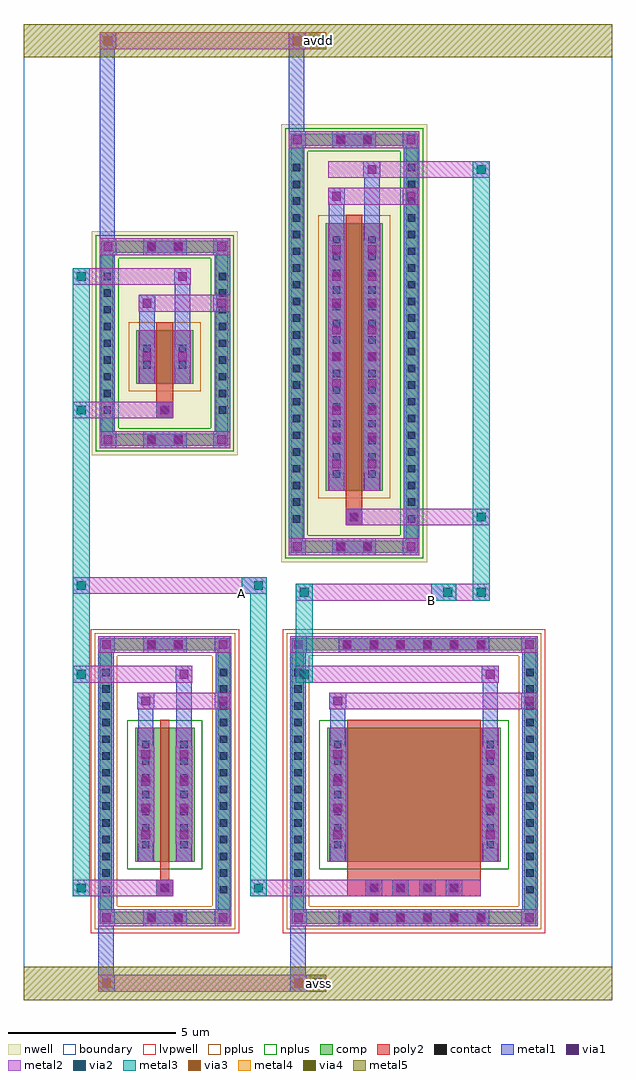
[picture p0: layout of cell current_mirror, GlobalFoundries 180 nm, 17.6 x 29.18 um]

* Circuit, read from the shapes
.subckt current_mirror A B avdd avss
XM1 A A avss avss nfet_03v3 w=4u l=0.28u
XM2 B A avss avss nfet_03v3 w=4u l=4u
XM3 A A avdd avdd pfet_03v3 w=1.6u l=0.5u
XM4 B B avdd avdd pfet_03v3 w=8u l=0.5u
.ends

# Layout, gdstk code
import gdstk
lib = gdstk.Library(unit=1e-6, precision=1e-09)
def R(c, l, rs):  # rectangles x0, y0, x1, y1
    for r in rs: c.add(gdstk.rectangle(r[:2], r[2:], *l))
def A(c, l, x, y, w, h, nx, ny, dx, dy):  # array of equal rectangles
    R(c, l, [(x+i*dx, y+j*dy, x+i*dx+w, y+j*dy+h) for i in range(nx) for j in range(ny)])
def P(c, l, *ps):  # polygons
    for p in ps: c.add(gdstk.Polygon(p, *l))
boundary = (0, 0)
nwell = (21, 0)
comp = (22, 0)
poly2 = (30, 0)
pplus = (31, 0)
nplus = (32, 0)
contact = (33, 0)
metal1 = (34, 0)
via1 = (35, 0)
metal2 = (36, 0)
via2 = (38, 0)
via3 = (40, 0)
via4 = (41, 0)
metal3 = (42, 0)
metal4 = (46, 0)
metal5 = (81, 0)
lvpwell = (204, 0)

c_route_10bd7e16 = lib.new_cell('c_route_10bd7e16')
R(c_route_10bd7e16, metal2, [(8.14,9.49,9.14,9.99), (8.14,9.49,8.64,9.99), (8.14,11.94,8.64,12.44), (8.14,11.94,12.43,12.44)])
R(c_route_10bd7e16, via2, [(8.26,9.61,8.52,9.87), (8.26,12.06,8.52,12.32)])
R(c_route_10bd7e16, metal3, [(8.14,9.49,8.64,9.99), (8.14,9.49,8.64,9.99), (8.14,9.49,8.64,12.44), (8.14,11.94,8.64,12.44), (8.14,11.94,8.64,12.44)])
P(c_route_10bd7e16, metal3, [(8.64,9.49),(8.64,9.99),(8.64,9.99),(8.64,9.49)],
  [(8.64,11.94),(8.64,12.44),(8.64,12.44),(8.64,11.94)])

c_route_90aed8ec = lib.new_cell('c_route_90aed8ec')
R(c_route_90aed8ec, metal2, [(12.93,11.94,13.93,12.44), (13.43,11.94,13.93,12.44), (10.13,14.19,13.93,14.69), (13.43,14.19,13.93,14.69)])
R(c_route_90aed8ec, via2, [(13.55,12.06,13.81,12.32), (13.55,14.31,13.81,14.57)])
R(c_route_90aed8ec, metal3, [(13.43,11.94,13.93,12.44), (13.43,11.94,13.93,12.44), (13.43,11.94,13.93,14.69), (13.43,14.19,13.93,14.69), (13.43,14.19,13.93,14.69)])
P(c_route_90aed8ec, metal3, [(13.93,11.94),(13.93,12.44),(13.93,12.44),(13.93,11.94)],
  [(13.93,14.19),(13.93,14.69),(13.93,14.69),(13.93,14.19)])

c_route_25e087cc = lib.new_cell('c_route_25e087cc')
R(c_route_25e087cc, metal2, [(12.93,11.94,13.93,12.44), (13.43,11.94,13.93,12.44), (10.66,24.58,13.93,25.08), (13.43,24.58,13.93,25.08)])
R(c_route_25e087cc, via2, [(13.55,12.06,13.81,12.32), (13.55,24.7,13.81,24.96)])
R(c_route_25e087cc, metal3, [(13.43,11.94,13.93,12.44), (13.43,11.94,13.93,12.44), (13.43,11.94,13.93,25.08), (13.43,24.58,13.93,25.08), (13.43,24.58,13.93,25.08)])
P(c_route_25e087cc, metal3, [(13.93,11.94),(13.93,12.44),(13.93,12.44),(13.93,11.94)],
  [(13.93,24.58),(13.93,25.08),(13.93,25.08),(13.93,24.58)])

l_route_7eae1ef4 = lib.new_cell('L_route_7eae1ef4')
R(l_route_7eae1ef4, metal2, [(6.77,3.1,9.67,3.6), (6.77,3.1,7.27,3.6), (6.77,3.1,7.27,3.6)])
R(l_route_7eae1ef4, via2, [(6.89,3.22,7.15,3.48)])
R(l_route_7eae1ef4, metal3, [(6.77,3.1,7.27,3.6), (6.77,3.1,7.27,3.6), (6.77,3.1,7.27,12.14)])

straight_route_ca1693f4 = lib.new_cell('straight_route_ca1693f4')
R(straight_route_ca1693f4, metal2, [(1.47,12.14,7.27,12.64)])

l_route_70e60bcc = lib.new_cell('L_route_70e60bcc')
R(l_route_70e60bcc, metal2, [(1.47,3.1,3.97,3.6), (1.47,3.1,1.97,3.6), (1.47,3.1,1.97,3.6)])
R(l_route_70e60bcc, via2, [(1.59,3.22,1.85,3.48)])
R(l_route_70e60bcc, metal3, [(1.47,3.1,1.97,3.6), (1.47,3.1,1.97,3.6), (1.47,3.1,1.97,12.14)])

l_route_1d105673 = lib.new_cell('L_route_1d105673')
R(l_route_1d105673, metal2, [(1.47,17.39,3.97,17.89), (1.47,17.39,1.97,17.89), (1.47,17.39,1.97,17.89)])
R(l_route_1d105673, via2, [(1.59,17.51,1.85,17.77)])
R(l_route_1d105673, metal3, [(1.47,12.64,1.97,17.89), (1.47,17.39,1.97,17.89), (1.47,17.39,1.97,17.89)])

l_route_0b815acd = lib.new_cell('L_route_0b815acd')
R(l_route_0b815acd, metal2, [(1.47,9.49,3.4,9.99), (1.47,9.49,1.97,9.99), (1.47,9.49,1.97,9.99)])
R(l_route_0b815acd, via2, [(1.59,9.61,1.85,9.87)])
R(l_route_0b815acd, metal3, [(1.47,9.49,1.97,9.99), (1.47,9.49,1.97,9.99), (1.47,9.49,1.97,12.14)])

l_route_261ebb80 = lib.new_cell('L_route_261ebb80')
R(l_route_261ebb80, metal2, [(1.47,21.38,3.44,21.88), (1.47,21.38,1.97,21.88), (1.47,21.38,1.97,21.88)])
R(l_route_261ebb80, via2, [(1.59,21.5,1.85,21.76)])
R(l_route_261ebb80, metal3, [(1.47,12.64,1.97,21.88), (1.47,21.38,1.97,21.88), (1.47,21.38,1.97,21.88)])

l_route_17746030 = lib.new_cell('L_route_17746030')
R(l_route_17746030, metal1, [(14.87,8.69,15.37,9.19), (14.87,8.69,15.37,9.19), (14.91,8.69,15.37,10.45)])
R(l_route_17746030, via1, [(14.99,8.81,15.25,9.07)])
R(l_route_17746030, metal2, [(14.2,8.69,15.37,9.19), (14.87,8.69,15.37,9.19), (14.87,8.69,15.37,9.19)])

l_route_3668c173 = lib.new_cell('L_route_3668c173')
R(l_route_3668c173, metal1, [(5.71,8.69,6.21,9.19), (5.71,8.69,6.21,9.19), (5.75,8.69,6.21,10.45)])
R(l_route_3668c173, via1, [(5.83,8.81,6.09,9.07)])
R(l_route_3668c173, metal2, [(5.04,8.69,6.21,9.19), (5.71,8.69,6.21,9.19), (5.71,8.69,6.21,9.19)])

l_route_6dcb7beb = lib.new_cell('L_route_6dcb7beb')
R(l_route_6dcb7beb, metal1, [(11.33,23.78,11.83,24.28), (11.33,23.78,11.83,24.28), (11.37,23.78,11.83,25.54)])
R(l_route_6dcb7beb, via1, [(11.45,23.9,11.71,24.16)])
R(l_route_6dcb7beb, metal2, [(10.66,23.78,11.83,24.28), (11.33,23.78,11.83,24.28), (11.33,23.78,11.83,24.28)])

l_route_7fcb8801 = lib.new_cell('L_route_7fcb8801')
R(l_route_7fcb8801, metal1, [(5.67,20.58,6.17,21.08), (5.67,20.58,6.17,21.08), (5.71,20.58,6.17,22.34)])
R(l_route_7fcb8801, via1, [(5.79,20.7,6.05,20.96)])
R(l_route_7fcb8801, metal2, [(5,20.58,6.17,21.08), (5.67,20.58,6.17,21.08), (5.67,20.58,6.17,21.08)])

l_route_2b8f3176 = lib.new_cell('L_route_2b8f3176')
R(l_route_2b8f3176, metal1, [(7.97,0.25,8.47,0.75), (7.97,0.25,8.47,0.75), (7.97,0.25,8.43,2.64)])
R(l_route_2b8f3176, via1, [(8.09,0.37,8.35,0.63)])
R(l_route_2b8f3176, metal2, [(7.97,0.25,8.55,0.75), (7.97,0.25,8.47,0.75), (7.97,0.25,8.47,0.75)])

l_route_825af731 = lib.new_cell('L_route_825af731')
R(l_route_825af731, metal1, [(2.23,0.25,2.73,0.75), (2.23,0.25,2.73,0.75), (2.23,0.25,2.69,2.64)])
R(l_route_825af731, via1, [(2.35,0.37,2.61,0.63)])
R(l_route_825af731, metal2, [(2.23,0.25,8.55,0.75), (2.23,0.25,2.73,0.75), (2.23,0.25,2.73,0.75)])

l_route_092ee0ab = lib.new_cell('L_route_092ee0ab')
R(l_route_092ee0ab, metal1, [(7.93,25.54,8.39,28.93), (7.93,28.43,8.43,28.93), (7.93,28.43,8.43,28.93)])
R(l_route_092ee0ab, via1, [(8.05,28.55,8.31,28.81)])
R(l_route_092ee0ab, metal2, [(7.93,28.43,8.55,28.93), (7.93,28.43,8.43,28.93), (7.93,28.43,8.43,28.93)])

l_route_9d6ad4ba = lib.new_cell('L_route_9d6ad4ba')
R(l_route_9d6ad4ba, metal1, [(2.27,22.34,2.73,28.93), (2.27,28.43,2.77,28.93), (2.27,28.43,2.77,28.93)])
R(l_route_9d6ad4ba, via1, [(2.39,28.55,2.65,28.81)])
R(l_route_9d6ad4ba, metal2, [(2.27,28.43,8.55,28.93), (2.27,28.43,2.77,28.93), (2.27,28.43,2.77,28.93)])

compass_2d1cdd23_3 = lib.new_cell('compass_2d1cdd23$3')
R(compass_2d1cdd23_3, metal3, [(-0.25,-0.25,0.25,0.25)])

rectangle_2d1cdd23_1 = lib.new_cell('rectangle_2d1cdd23$1')
rectangle_2d1cdd23_1.add(gdstk.Reference(compass_2d1cdd23_3, (0.25,0.25)))

compass_2d1cdd23_2 = lib.new_cell('compass_2d1cdd23$2')
R(compass_2d1cdd23_2, metal3, [(-0.25,-0.25,0.25,0.25)])

rectangle_2d1cdd23 = lib.new_cell('rectangle_2d1cdd23')
rectangle_2d1cdd23.add(gdstk.Reference(compass_2d1cdd23_2, (0.25,0.25)))

via_stack_a2e89513_23 = lib.new_cell('via_stack_a2e89513$23')
R(via_stack_a2e89513_23, metal2, [(-0.25,-0.25,0.25,0.25)])
R(via_stack_a2e89513_23, via2, [(-0.13,-0.13,0.13,0.13)])
R(via_stack_a2e89513_23, metal3, [(-0.25,-0.25,0.25,0.25)])

via_stack_7fdd5994_2 = lib.new_cell('via_stack_7fdd5994$2')
R(via_stack_7fdd5994_2, metal2, [(-0.25,-0.25,0.25,0.25)])
R(via_stack_7fdd5994_2, via2, [(-0.13,-0.13,0.13,0.13)])
R(via_stack_7fdd5994_2, via3, [(-0.13,-0.13,0.13,0.13)])
R(via_stack_7fdd5994_2, via4, [(-0.13,-0.13,0.13,0.13)])
R(via_stack_7fdd5994_2, metal3, [(-0.25,-0.25,0.25,0.25)])
R(via_stack_7fdd5994_2, metal4, [(-0.25,-0.25,0.25,0.25)])
R(via_stack_7fdd5994_2, metal5, [(-0.25,-0.25,0.25,0.25)])

compass_5639a077_1 = lib.new_cell('compass_5639a077$1')
R(compass_5639a077_1, metal5, [(-8.8,-0.5,8.8,0.5)])

rectangle_5639a077_1 = lib.new_cell('rectangle_5639a077$1')
rectangle_5639a077_1.add(gdstk.Reference(compass_5639a077_1, (8.8,0.5)))

compass_5639a077 = lib.new_cell('compass_5639a077')
R(compass_5639a077, metal5, [(-8.8,-0.5,8.8,0.5)])

rectangle_5639a077 = lib.new_cell('rectangle_5639a077')
rectangle_5639a077.add(gdstk.Reference(compass_5639a077, (8.8,0.5)))

c_m4 = lib.new_cell('M4')
R(c_m4, nwell, [(-2.18,-3.345,2.18,3.345), (-2.02,-3.185,2.02,3.185)])
A(c_m4, comp, -1.9, -2.18, 0.36, 0.36, 1, 9, 0, 0.5)
A(c_m4, comp, 1.54, -2.18, 0.36, 0.36, 1, 9, 0, 0.5)
R(c_m4, comp, [(-0.58,-3.065,-0.22,-2.705), (-0.58,-3.065,0.58,-2.705), (0.22,-3.065,0.58,-2.705), (-1.9,-2.18,-1.54,2.18), (1.54,-2.18,1.9,2.18), (-0.85,-1.205,0.85,0.395), (-0.58,2.705,-0.22,3.065), (-0.58,2.705,0.58,3.065), (0.22,2.705,0.58,3.065)])
P(c_m4, comp, [(-1.9,-3.065),(-1.9,-2.705),(1.54,-2.705),(1.54,2.705),(-1.54,2.705),(-1.54,-2.705),(-1.9,-2.705),(-1.9,3.065),(1.9,3.065),(1.9,-3.065)])
R(c_m4, poly2, [(-0.25,-2.245,0.25,-1.745), (-0.18,-2.175,0.18,-1.815), (-0.25,-1.745,0.25,-1.445), (-0.25,-1.445,0.25,0.635)])
R(c_m4, pplus, [(-1.08,-1.435,1.08,0.625)])
P(c_m4, nplus, [(-2.06,-3.225),(-2.06,-2.545),(1.38,-2.545),(1.38,2.545),(-1.38,2.545),(-1.38,-2.545),(-2.06,-2.545),(-2.06,3.225),(2.06,3.225),(2.06,-3.225)])
A(c_m4, contact, -1.83, -2.11, 0.22, 0.22, 1, 9, 0, 0.5)
A(c_m4, contact, 1.61, -2.11, 0.22, 0.22, 1, 9, 0, 0.5)
R(c_m4, contact, [(-0.51,-2.995,-0.29,-2.775), (0.29,-2.995,0.51,-2.775), (-0.11,-2.105,0.11,-1.885), (-0.64,-0.765,-0.42,-0.545), (0.42,-0.765,0.64,-0.545), (-0.64,-0.265,-0.42,-0.045), (0.42,-0.265,0.64,-0.045), (-0.51,2.775,-0.29,2.995), (0.29,2.775,0.51,2.995)])
A(c_m4, metal1, -1.95, -2.23, 0.46, 0.46, 1, 9, 0, 0.5)
A(c_m4, metal1, 1.49, -2.23, 0.46, 0.46, 1, 9, 0, 0.5)
R(c_m4, metal1, [(-1.95,-3.135,-1.45,-2.635), (-1.95,-3.135,-1.45,-2.635), (-1.95,-3.135,-1.49,-2.705), (-0.65,-3.135,-0.15,-2.635), (-0.65,-3.135,0.65,-2.635), (0.15,-3.135,0.65,-2.635), (1.45,-3.135,1.95,-2.635), (1.45,-3.135,1.95,-2.635), (1.49,-3.135,1.95,-2.705), (-1.95,-2.705,-1.49,2.705), (1.49,-2.705,1.95,2.705), (-0.25,-2.245,0.25,-1.745), (-0.76,-1.205,-0.3,0.395), (0.3,-1.205,0.76,0.395), (-0.76,-0.885,-0.3,-0.425), (0.3,-0.885,0.76,-0.425), (-0.78,-0.655,-0.28,-0.155), (-0.78,-0.655,-0.28,-0.155), (0.28,-0.655,0.78,-0.155), (0.28,-0.655,0.78,-0.155), (-0.76,-0.385,-0.3,0.075), (0.3,-0.385,0.76,0.075), (-0.76,0.395,-0.3,1.445), (0.3,0.395,0.76,2.245), (-0.78,0.945,-0.28,1.445), (0.28,1.745,0.78,2.245), (-1.95,2.635,-1.45,3.135), (-1.95,2.635,-1.45,3.135), (-0.65,2.635,-0.15,3.135), (-0.65,2.635,0.65,3.135), (0.15,2.635,0.65,3.135), (1.45,2.635,1.95,3.135), (1.45,2.635,1.95,3.135), (-1.95,2.705,-1.49,3.135), (1.49,2.705,1.95,3.135)])
R(c_m4, via1, [(-1.83,-3.015,-1.57,-2.755), (-0.53,-3.015,-0.27,-2.755), (0.27,-3.015,0.53,-2.755), (1.57,-3.015,1.83,-2.755), (-0.13,-2.125,0.13,-1.865), (-0.66,-0.535,-0.4,-0.275), (0.4,-0.535,0.66,-0.275), (-0.66,1.065,-0.4,1.325), (0.4,1.865,0.66,2.125), (-1.83,2.755,-1.57,3.015), (-0.53,2.755,-0.27,3.015), (0.27,2.755,0.53,3.015), (1.57,2.755,1.83,3.015)])
R(c_m4, metal2, [(-1.95,-3.135,-1.45,-2.635), (-1.95,-3.135,-1.45,-2.635), (-1.95,-3.135,-1.54,-2.635), (-1.54,-3.135,1.54,-2.635), (-0.65,-3.135,-0.15,-2.635), (0.15,-3.135,0.65,-2.635), (1.45,-3.135,1.95,-2.635), (1.45,-3.135,1.95,-2.635), (1.54,-3.135,1.95,-2.635), (-0.25,-2.245,0.25,-1.745), (-0.25,-2.245,0.25,-1.745), (-0.78,-1.205,-0.28,0.395), (0.28,-1.205,0.78,0.395), (-0.78,-0.655,-0.28,-0.155), (0.28,-0.655,0.78,-0.155), (-0.78,0.945,-0.28,1.445), (-0.78,0.945,0.78,1.445), (-0.78,1.745,0.78,2.245), (0.28,1.745,0.78,2.245), (-1.95,2.635,-1.45,3.135), (-1.95,2.635,-1.45,3.135), (-1.95,2.635,-1.54,3.135), (-1.54,2.635,1.54,3.135), (-0.65,2.635,-0.15,3.135), (0.15,2.635,0.65,3.135), (1.45,2.635,1.95,3.135), (1.45,2.635,1.95,3.135), (1.54,2.635,1.95,3.135)])

c_m3 = lib.new_cell('M3')
R(c_m3, nwell, [(-2.18,-6.545,2.18,6.545), (-2.02,-6.385,2.02,6.385)])
A(c_m3, comp, -1.9, -5.43, 0.36, 0.36, 1, 22, 0, 0.5)
A(c_m3, comp, 1.54, -5.43, 0.36, 0.36, 1, 22, 0, 0.5)
R(c_m3, comp, [(-0.58,-6.265,-0.22,-5.905), (-0.58,-6.265,0.58,-5.905), (0.22,-6.265,0.58,-5.905), (-1.9,-5.43,-1.54,5.43), (1.54,-5.43,1.9,5.43), (-0.85,-4.405,0.85,3.595), (-0.58,5.905,-0.22,6.265), (-0.58,5.905,0.58,6.265), (0.22,5.905,0.58,6.265)])
P(c_m3, comp, [(-1.9,-6.265),(-1.9,-5.905),(1.54,-5.905),(1.54,5.905),(-1.54,5.905),(-1.54,-5.905),(-1.9,-5.905),(-1.9,6.265),(1.9,6.265),(1.9,-6.265)])
R(c_m3, poly2, [(-0.25,-5.445,0.25,-4.945), (-0.18,-5.375,0.18,-5.015), (-0.25,-4.945,0.25,-4.645), (-0.25,-4.645,0.25,3.835)])
R(c_m3, pplus, [(-1.08,-4.635,1.08,3.825)])
P(c_m3, nplus, [(-2.06,-6.425),(-2.06,-5.745),(1.38,-5.745),(1.38,5.745),(-1.38,5.745),(-1.38,-5.745),(-2.06,-5.745),(-2.06,6.425),(2.06,6.425),(2.06,-6.425)])
A(c_m3, contact, -1.83, -5.36, 0.22, 0.22, 1, 22, 0, 0.5)
A(c_m3, contact, 1.61, -5.36, 0.22, 0.22, 1, 22, 0, 0.5)
A(c_m3, contact, -0.64, -4.015, 0.22, 0.22, 1, 15, 0, 0.5)
A(c_m3, contact, 0.42, -4.015, 0.22, 0.22, 1, 15, 0, 0.5)
R(c_m3, contact, [(-0.51,-6.195,-0.29,-5.975), (0.29,-6.195,0.51,-5.975), (-0.11,-5.305,0.11,-5.085), (-0.51,5.975,-0.29,6.195), (0.29,5.975,0.51,6.195)])
A(c_m3, metal1, -1.95, -5.48, 0.46, 0.46, 1, 22, 0, 0.5)
A(c_m3, metal1, 1.49, -5.48, 0.46, 0.46, 1, 22, 0, 0.5)
A(c_m3, metal1, -0.76, -4.135, 0.46, 0.46, 1, 15, 0, 0.5)
A(c_m3, metal1, 0.3, -4.135, 0.46, 0.46, 1, 15, 0, 0.5)
A(c_m3, metal1, -0.78, -3.855, 0.5, 0.5, 1, 9, 0, 0.8)
A(c_m3, metal1, 0.28, -3.855, 0.5, 0.5, 1, 9, 0, 0.8)
R(c_m3, metal1, [(-1.95,-6.335,-1.45,-5.835), (-1.95,-6.335,-1.45,-5.835), (-1.95,-6.335,-1.49,-5.905), (-0.65,-6.335,-0.15,-5.835), (-0.65,-6.335,0.65,-5.835), (0.15,-6.335,0.65,-5.835), (1.45,-6.335,1.95,-5.835), (1.45,-6.335,1.95,-5.835), (1.49,-6.335,1.95,-5.905), (-1.95,-5.905,-1.49,5.905), (1.49,-5.905,1.95,5.905), (-0.25,-5.445,0.25,-4.945), (-0.76,-4.405,-0.3,3.595), (0.3,-4.405,0.76,3.595), (-0.78,-3.855,-0.28,3.045), (0.28,-3.855,0.78,3.045), (-0.76,3.595,-0.3,4.645), (0.3,3.595,0.76,5.445), (-0.78,4.145,-0.28,4.645), (0.28,4.945,0.78,5.445), (-1.95,5.835,-1.45,6.335), (-1.95,5.835,-1.45,6.335), (-0.65,5.835,-0.15,6.335), (-0.65,5.835,0.65,6.335), (0.15,5.835,0.65,6.335), (1.45,5.835,1.95,6.335), (1.45,5.835,1.95,6.335), (-1.95,5.905,-1.49,6.335), (1.49,5.905,1.95,6.335)])
A(c_m3, via1, -0.66, -3.735, 0.26, 0.26, 1, 9, 0, 0.8)
A(c_m3, via1, 0.4, -3.735, 0.26, 0.26, 1, 9, 0, 0.8)
R(c_m3, via1, [(-1.83,-6.215,-1.57,-5.955), (-0.53,-6.215,-0.27,-5.955), (0.27,-6.215,0.53,-5.955), (1.57,-6.215,1.83,-5.955), (-0.13,-5.325,0.13,-5.065), (-0.66,4.265,-0.4,4.525), (0.4,5.065,0.66,5.325), (-1.83,5.955,-1.57,6.215), (-0.53,5.955,-0.27,6.215), (0.27,5.955,0.53,6.215), (1.57,5.955,1.83,6.215)])
A(c_m3, metal2, -0.78, -3.855, 0.5, 0.5, 1, 9, 0, 0.8)
A(c_m3, metal2, 0.28, -3.855, 0.5, 0.5, 1, 9, 0, 0.8)
R(c_m3, metal2, [(-1.95,-6.335,-1.45,-5.835), (-1.95,-6.335,-1.45,-5.835), (-1.95,-6.335,-1.54,-5.835), (-1.54,-6.335,1.54,-5.835), (-0.65,-6.335,-0.15,-5.835), (0.15,-6.335,0.65,-5.835), (1.45,-6.335,1.95,-5.835), (1.45,-6.335,1.95,-5.835), (1.54,-6.335,1.95,-5.835), (-0.25,-5.445,0.25,-4.945), (-0.25,-5.445,0.25,-4.945), (-0.78,-4.405,-0.28,3.595), (0.28,-4.405,0.78,3.595), (-0.78,4.145,-0.28,4.645), (-0.78,4.145,0.78,4.645), (-0.78,4.945,0.78,5.445), (0.28,4.945,0.78,5.445), (-1.95,5.835,-1.45,6.335), (-1.95,5.835,-1.45,6.335), (-1.95,5.835,-1.54,6.335), (-1.54,5.835,1.54,6.335), (-0.65,5.835,-0.15,6.335), (0.15,5.835,0.65,6.335), (1.45,5.835,1.95,6.335), (1.45,5.835,1.95,6.335), (1.54,5.835,1.95,6.335)])

c_m2 = lib.new_cell('M2')
A(c_m2, comp, -2.18, -4.265, 0.36, 0.36, 6, 2, 0.8, 8.17)
A(c_m2, comp, -3.65, -3.43, 0.36, 0.36, 1, 14, 0, 0.5)
A(c_m2, comp, 3.29, -3.43, 0.36, 0.36, 1, 14, 0, 0.5)
R(c_m2, comp, [(-2.18,-4.265,2.18,-3.905), (-3.65,-3.43,-3.29,3.43), (3.29,-3.43,3.65,3.43), (-2.6,-2.405,2.6,1.595), (-2.18,3.905,2.18,4.265)])
P(c_m2, comp, [(-3.65,-4.265),(-3.65,-3.905),(3.29,-3.905),(3.29,3.905),(-3.29,3.905),(-3.29,-3.905),(-3.65,-3.905),(-3.65,4.265),(3.65,4.265),(3.65,-4.265)])
A(c_m2, poly2, -1.38, -3.375, 0.36, 0.36, 4, 1, 0.8, 0)
R(c_m2, poly2, [(-2,-3.445,2,-2.945), (-2,-2.945,2,-2.645), (-2,-2.645,2,1.835)])
P(c_m2, pplus, [(-3.81,-4.425),(-3.81,-3.745),(3.13,-3.745),(3.13,3.745),(-3.13,3.745),(-3.13,-3.745),(-3.81,-3.745),(-3.81,4.425),(3.81,4.425),(3.81,-4.425)])
R(c_m2, nplus, [(-2.83,-2.635,2.83,1.825)])
A(c_m2, contact, -2.11, -4.195, 0.22, 0.22, 6, 2, 0.8, 8.17)
A(c_m2, contact, -3.58, -3.36, 0.22, 0.22, 1, 14, 0, 0.5)
A(c_m2, contact, 3.36, -3.36, 0.22, 0.22, 1, 14, 0, 0.5)
A(c_m2, contact, -1.31, -3.305, 0.22, 0.22, 4, 1, 0.8, 0)
A(c_m2, contact, -2.39, -2.015, 0.22, 0.22, 1, 7, 0, 0.5)
A(c_m2, contact, 2.17, -2.015, 0.22, 0.22, 1, 7, 0, 0.5)
A(c_m2, metal1, -2.25, -4.335, 0.5, 0.5, 6, 2, 0.8, 8.17)
A(c_m2, metal1, -3.7, -3.48, 0.46, 0.46, 1, 14, 0, 0.5)
A(c_m2, metal1, 3.24, -3.48, 0.46, 0.46, 1, 14, 0, 0.5)
A(c_m2, metal1, -1.45, -3.445, 0.5, 0.5, 4, 1, 0.8, 0)
A(c_m2, metal1, -2.51, -2.135, 0.46, 0.46, 1, 7, 0, 0.5)
A(c_m2, metal1, 2.05, -2.135, 0.46, 0.46, 1, 7, 0, 0.5)
A(c_m2, metal1, -2.53, -1.855, 0.5, 0.5, 1, 4, 0, 0.8)
A(c_m2, metal1, 2.03, -1.855, 0.5, 0.5, 1, 4, 0, 0.8)
R(c_m2, metal1, [(-3.7,-4.335,-3.2,-3.835), (-3.7,-4.335,-3.2,-3.835), (-3.7,-4.335,-3.24,-3.905), (-2.25,-4.335,2.25,-3.835), (3.2,-4.335,3.7,-3.835), (3.2,-4.335,3.7,-3.835), (3.24,-4.335,3.7,-3.905), (-3.7,-3.905,-3.24,3.905), (3.24,-3.905,3.7,3.905), (-2.51,-2.405,-2.05,1.595), (2.05,-2.405,2.51,1.595), (-2.53,-1.855,-2.03,1.045), (2.03,-1.855,2.53,1.045), (-2.51,1.595,-2.05,2.645), (2.05,1.595,2.51,3.445), (-2.53,2.145,-2.03,2.645), (2.03,2.945,2.53,3.445), (-3.7,3.835,-3.2,4.335), (-3.7,3.835,-3.2,4.335), (-2.25,3.835,2.25,4.335), (3.2,3.835,3.7,4.335), (3.2,3.835,3.7,4.335), (-3.7,3.905,-3.24,4.335), (3.24,3.905,3.7,4.335)])
A(c_m2, via1, -2.13, -4.215, 0.26, 0.26, 6, 2, 0.8, 8.17)
A(c_m2, via1, -1.33, -3.325, 0.26, 0.26, 4, 1, 0.8, 0)
A(c_m2, via1, -2.41, -1.735, 0.26, 0.26, 1, 4, 0, 0.8)
A(c_m2, via1, 2.15, -1.735, 0.26, 0.26, 1, 4, 0, 0.8)
R(c_m2, via1, [(-3.58,-4.215,-3.32,-3.955), (3.32,-4.215,3.58,-3.955), (-2.41,2.265,-2.15,2.525), (2.15,3.065,2.41,3.325), (-3.58,3.955,-3.32,4.215), (3.32,3.955,3.58,4.215)])
A(c_m2, metal2, -2.25, -4.335, 0.5, 0.5, 6, 2, 0.8, 8.17)
A(c_m2, metal2, -1.45, -3.445, 0.5, 0.5, 4, 1, 0.8, 0)
A(c_m2, metal2, -2.53, -1.855, 0.5, 0.5, 1, 4, 0, 0.8)
A(c_m2, metal2, 2.03, -1.855, 0.5, 0.5, 1, 4, 0, 0.8)
R(c_m2, metal2, [(-3.7,-4.335,-3.2,-3.835), (-3.7,-4.335,-3.2,-3.835), (-3.7,-4.335,-3.29,-3.835), (-3.29,-4.335,3.29,-3.835), (3.2,-4.335,3.7,-3.835), (3.2,-4.335,3.7,-3.835), (3.29,-4.335,3.7,-3.835), (-2,-3.445,2,-2.945), (-2.53,-2.405,-2.03,1.595), (2.03,-2.405,2.53,1.595), (-2.53,2.145,-2.03,2.645), (-2.53,2.145,2.53,2.645), (-2.53,2.945,2.53,3.445), (2.03,2.945,2.53,3.445), (-3.7,3.835,-3.2,4.335), (-3.7,3.835,-3.2,4.335), (-3.7,3.835,-3.29,4.335), (-3.29,3.835,3.29,4.335), (3.2,3.835,3.7,4.335), (3.2,3.835,3.7,4.335), (3.29,3.835,3.7,4.335)])
R(c_m2, lvpwell, [(-3.93,-4.545,3.93,4.545)])

m1_2 = lib.new_cell('M1$2')
A(m1_2, comp, -1.94, -3.43, 0.36, 0.36, 1, 14, 0, 0.5)
A(m1_2, comp, 1.58, -3.43, 0.36, 0.36, 1, 14, 0, 0.5)
R(m1_2, comp, [(-0.58,-4.265,-0.22,-3.905), (-0.58,-4.265,0.58,-3.905), (0.22,-4.265,0.58,-3.905), (-1.94,-3.43,-1.58,3.43), (1.58,-3.43,1.94,3.43), (-0.89,-2.405,0.89,1.595), (-0.58,3.905,-0.22,4.265), (-0.58,3.905,0.58,4.265), (0.22,3.905,0.58,4.265)])
P(m1_2, comp, [(-1.94,-4.265),(-1.94,-3.905),(1.58,-3.905),(1.58,3.905),(-1.58,3.905),(-1.58,-3.905),(-1.94,-3.905),(-1.94,4.265),(1.94,4.265),(1.94,-4.265)])
R(m1_2, poly2, [(-0.25,-3.445,0.25,-2.945), (-0.18,-3.375,0.18,-3.015), (-0.14,-2.945,0.14,-2.645), (-0.14,-2.645,0.14,1.835)])
P(m1_2, pplus, [(-2.1,-4.425),(-2.1,-3.745),(1.42,-3.745),(1.42,3.745),(-1.42,3.745),(-1.42,-3.745),(-2.1,-3.745),(-2.1,4.425),(2.1,4.425),(2.1,-4.425)])
R(m1_2, nplus, [(-1.12,-2.635,1.12,1.825)])
A(m1_2, contact, -1.87, -3.36, 0.22, 0.22, 1, 14, 0, 0.5)
A(m1_2, contact, 1.65, -3.36, 0.22, 0.22, 1, 14, 0, 0.5)
A(m1_2, contact, -0.68, -2.015, 0.22, 0.22, 1, 7, 0, 0.5)
A(m1_2, contact, 0.46, -2.015, 0.22, 0.22, 1, 7, 0, 0.5)
R(m1_2, contact, [(-0.51,-4.195,-0.29,-3.975), (0.29,-4.195,0.51,-3.975), (-0.11,-3.305,0.11,-3.085), (-0.51,3.975,-0.29,4.195), (0.29,3.975,0.51,4.195)])
A(m1_2, metal1, -1.99, -3.48, 0.46, 0.46, 1, 14, 0, 0.5)
A(m1_2, metal1, 1.53, -3.48, 0.46, 0.46, 1, 14, 0, 0.5)
A(m1_2, metal1, -0.8, -2.135, 0.46, 0.46, 1, 7, 0, 0.5)
A(m1_2, metal1, 0.34, -2.135, 0.46, 0.46, 1, 7, 0, 0.5)
A(m1_2, metal1, -0.82, -1.855, 0.5, 0.5, 1, 4, 0, 0.8)
A(m1_2, metal1, 0.32, -1.855, 0.5, 0.5, 1, 4, 0, 0.8)
R(m1_2, metal1, [(-1.99,-4.335,-1.49,-3.835), (-1.99,-4.335,-1.49,-3.835), (-1.99,-4.335,-1.53,-3.905), (-0.65,-4.335,-0.15,-3.835), (-0.65,-4.335,0.65,-3.835), (0.15,-4.335,0.65,-3.835), (1.49,-4.335,1.99,-3.835), (1.49,-4.335,1.99,-3.835), (1.53,-4.335,1.99,-3.905), (-1.99,-3.905,-1.53,3.905), (1.53,-3.905,1.99,3.905), (-0.25,-3.445,0.25,-2.945), (-0.8,-2.405,-0.34,1.595), (0.34,-2.405,0.8,1.595), (-0.82,-1.855,-0.32,1.045), (0.32,-1.855,0.82,1.045), (-0.8,1.595,-0.34,2.645), (0.34,1.595,0.8,3.445), (-0.82,2.145,-0.32,2.645), (0.32,2.945,0.82,3.445), (-1.99,3.835,-1.49,4.335), (-1.99,3.835,-1.49,4.335), (-0.65,3.835,-0.15,4.335), (-0.65,3.835,0.65,4.335), (0.15,3.835,0.65,4.335), (1.49,3.835,1.99,4.335), (1.49,3.835,1.99,4.335), (-1.99,3.905,-1.53,4.335), (1.53,3.905,1.99,4.335)])
A(m1_2, via1, -0.7, -1.735, 0.26, 0.26, 1, 4, 0, 0.8)
A(m1_2, via1, 0.44, -1.735, 0.26, 0.26, 1, 4, 0, 0.8)
R(m1_2, via1, [(-1.87,-4.215,-1.61,-3.955), (-0.53,-4.215,-0.27,-3.955), (0.27,-4.215,0.53,-3.955), (1.61,-4.215,1.87,-3.955), (-0.13,-3.325,0.13,-3.065), (-0.7,2.265,-0.44,2.525), (0.44,3.065,0.7,3.325), (-1.87,3.955,-1.61,4.215), (-0.53,3.955,-0.27,4.215), (0.27,3.955,0.53,4.215), (1.61,3.955,1.87,4.215)])
A(m1_2, metal2, -0.82, -1.855, 0.5, 0.5, 1, 4, 0, 0.8)
A(m1_2, metal2, 0.32, -1.855, 0.5, 0.5, 1, 4, 0, 0.8)
R(m1_2, metal2, [(-1.99,-4.335,-1.49,-3.835), (-1.99,-4.335,-1.49,-3.835), (-1.99,-4.335,-1.58,-3.835), (-1.58,-4.335,1.58,-3.835), (-0.65,-4.335,-0.15,-3.835), (0.15,-4.335,0.65,-3.835), (1.49,-4.335,1.99,-3.835), (1.49,-4.335,1.99,-3.835), (1.58,-4.335,1.99,-3.835), (-0.25,-3.445,0.25,-2.945), (-0.25,-3.445,0.25,-2.945), (-0.82,-2.405,-0.32,1.595), (0.32,-2.405,0.82,1.595), (-0.82,2.145,-0.32,2.645), (-0.82,2.145,0.82,2.645), (-0.82,2.945,0.82,3.445), (0.32,2.945,0.82,3.445), (-1.99,3.835,-1.49,4.335), (-1.99,3.835,-1.49,4.335), (-1.99,3.835,-1.58,4.335), (-1.58,3.835,1.58,4.335), (-0.65,3.835,-0.15,4.335), (0.15,3.835,0.65,4.335), (1.49,3.835,1.99,4.335), (1.49,3.835,1.99,4.335), (1.58,3.835,1.99,4.335)])
R(m1_2, lvpwell, [(-2.22,-4.545,2.22,4.545)])

current_mirror = lib.new_cell('current_mirror')
R(current_mirror, boundary, [(0,0,17.6,29.18)])
current_mirror.add(gdstk.Reference(c_route_10bd7e16, (0,0)))
current_mirror.add(gdstk.Reference(c_route_90aed8ec, (0,0)))
current_mirror.add(gdstk.Reference(c_route_25e087cc, (0,0)))
current_mirror.add(gdstk.Reference(l_route_7eae1ef4, (0,0)))
current_mirror.add(gdstk.Reference(straight_route_ca1693f4, (0,0)))
current_mirror.add(gdstk.Reference(l_route_70e60bcc, (0,0)))
current_mirror.add(gdstk.Reference(l_route_1d105673, (0,0)))
current_mirror.add(gdstk.Reference(l_route_0b815acd, (0,0)))
current_mirror.add(gdstk.Reference(l_route_261ebb80, (0,0)))
current_mirror.add(gdstk.Reference(l_route_17746030, (0,0)))
current_mirror.add(gdstk.Reference(l_route_3668c173, (0,0)))
current_mirror.add(gdstk.Reference(l_route_6dcb7beb, (0,0)))
current_mirror.add(gdstk.Reference(l_route_7fcb8801, (0,0)))
current_mirror.add(gdstk.Reference(l_route_2b8f3176, (0,0)))
current_mirror.add(gdstk.Reference(l_route_825af731, (0,0)))
current_mirror.add(gdstk.Reference(l_route_092ee0ab, (0,0)))
current_mirror.add(gdstk.Reference(l_route_9d6ad4ba, (0,0)))
current_mirror.add(gdstk.Reference(rectangle_2d1cdd23_1, (12.18,11.94)))
current_mirror.add(gdstk.Reference(rectangle_2d1cdd23, (6.52,12.14)))
current_mirror.add(gdstk.Reference(via_stack_a2e89513_23, (12.68,12.19)))
current_mirror.add(gdstk.Reference(via_stack_a2e89513_23, (1.72,12.39)))
current_mirror.add(gdstk.Reference(via_stack_a2e89513_23, (7.02,12.39)))
current_mirror.add(gdstk.Reference(via_stack_7fdd5994_2, (8.8,0.5)))
current_mirror.add(gdstk.Reference(via_stack_7fdd5994_2, (8.8,28.68)))
current_mirror.add(gdstk.Reference(rectangle_5639a077_1, (0,0)))
current_mirror.add(gdstk.Reference(rectangle_5639a077, (0,28.18)))
current_mirror.add(gdstk.Reference(c_m4, (4.22,19.635)))
current_mirror.add(gdstk.Reference(c_m3, (9.88,19.635)))
current_mirror.add(gdstk.Reference(c_m2, (11.67,6.545)))
current_mirror.add(gdstk.Reference(m1_2, (4.22,6.545)))
current_mirror.add(gdstk.Label('A', (6.52,12.14), layer=42, texttype=10))
current_mirror.add(gdstk.Label('B', (12.18,11.94), layer=42, texttype=10))
current_mirror.add(gdstk.Label('avss', (8.8,0.5), layer=81, texttype=10))
current_mirror.add(gdstk.Label('avdd', (8.8,28.68), layer=81, texttype=10))

lib.write_gds('current_mirror.gds')
